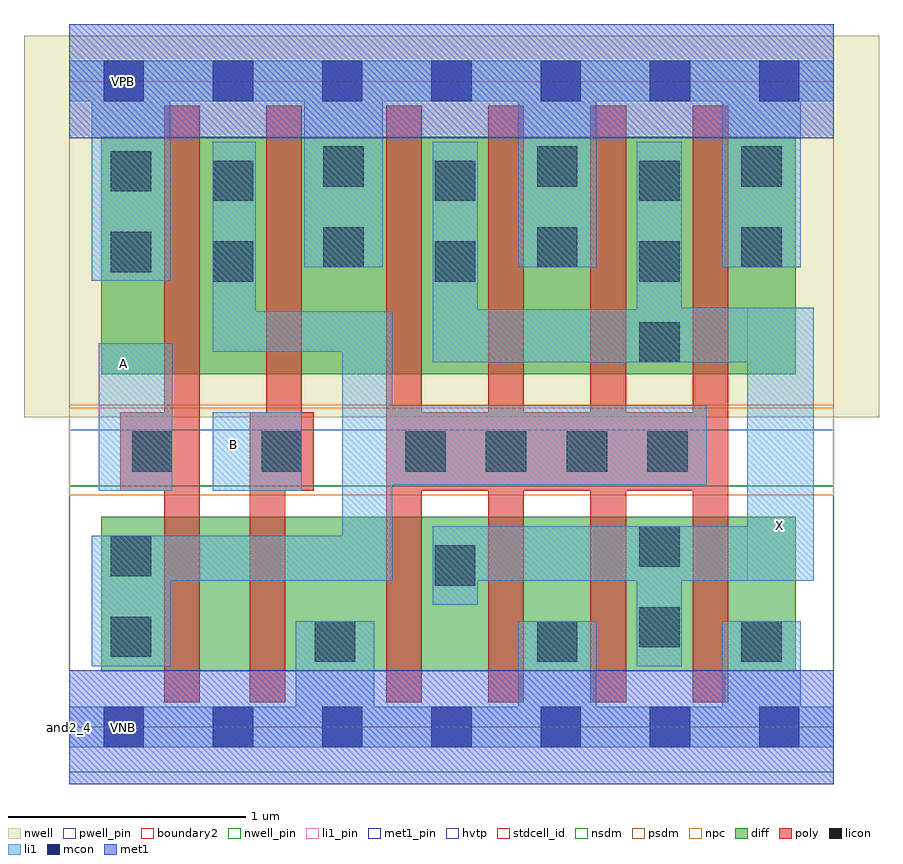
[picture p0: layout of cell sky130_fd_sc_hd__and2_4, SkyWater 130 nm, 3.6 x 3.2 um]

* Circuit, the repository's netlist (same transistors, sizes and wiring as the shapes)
* Copyright 2020 The SkyWater PDK Authors
*
* Licensed under the Apache License, Version 2.0 (the "License");
* you may not use this file except in compliance with the License.
* You may obtain a copy of the License at
*
*     https://www.apache.org/licenses/LICENSE-2.0
*
* Unless required by applicable law or agreed to in writing, software
* distributed under the License is distributed on an "AS IS" BASIS,
* WITHOUT WARRANTIES OR CONDITIONS OF ANY KIND, either express or implied.
* See the License for the specific language governing permissions and
* limitations under the License.
*
* SPDX-License-Identifier: Apache-2.0


.subckt sky130_fd_sc_hd__and2_4 A B VGND VNB VPB VPWR X
X0 a_27_47# B VPWR VPB sky130_fd_pr__pfet_01v8_hvt w=1 l=150000u
X1 VPWR A a_27_47# VPB sky130_fd_pr__pfet_01v8_hvt w=1 l=150000u
X2 a_110_47# B VGND VNB sky130_fd_pr__nfet_01v8 w=650000u l=150000u
X3 VGND a_27_47# X VNB sky130_fd_pr__nfet_01v8 w=650000u l=150000u
X4 a_27_47# A a_110_47# VNB sky130_fd_pr__nfet_01v8 w=650000u l=150000u
X5 X a_27_47# VGND VNB sky130_fd_pr__nfet_01v8 w=650000u l=150000u
X6 VPWR a_27_47# X VPB sky130_fd_pr__pfet_01v8_hvt w=1 l=150000u
X7 VPWR a_27_47# X VPB sky130_fd_pr__pfet_01v8_hvt w=1 l=150000u
X8 VGND a_27_47# X VNB sky130_fd_pr__nfet_01v8 w=650000u l=150000u
X9 X a_27_47# VPWR VPB sky130_fd_pr__pfet_01v8_hvt w=1 l=150000u
X10 X a_27_47# VGND VNB sky130_fd_pr__nfet_01v8 w=650000u l=150000u
X11 X a_27_47# VPWR VPB sky130_fd_pr__pfet_01v8_hvt w=1 l=150000u
.ends

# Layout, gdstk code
import gdstk
lib = gdstk.Library(unit=1e-6, precision=1e-09)
def R(c, l, rs):  # rectangles x0, y0, x1, y1
    for r in rs: c.add(gdstk.rectangle(r[:2], r[2:], *l))
def A(c, l, x, y, w, h, nx, ny, dx, dy):  # array of equal rectangles
    R(c, l, [(x+i*dx, y+j*dy, x+i*dx+w, y+j*dy+h) for i in range(nx) for j in range(ny)])
def P(c, l, *ps):  # polygons
    for p in ps: c.add(gdstk.Polygon(p, *l))
nwell_pin = (64, 16)
nwell = (64, 20)
diff = (65, 20)
poly = (66, 20)
licon = (66, 44)
li1_pin = (67, 16)
li1 = (67, 20)
mcon = (67, 44)
met1_pin = (68, 16)
met1 = (68, 20)
hvtp = (78, 44)
stdcell_id = (81, 4)
nsdm = (93, 44)
psdm = (94, 20)
npc = (95, 20)
pwell_pin = (122, 16)
boundary2 = (236, 0)

sky130_fd_sc_hd__and2_4 = lib.new_cell('sky130_fd_sc_hd__and2_4')
R(sky130_fd_sc_hd__and2_4, nwell_pin, [(0.145,2.635,0.315,2.805)])
R(sky130_fd_sc_hd__and2_4, nwell, [(-0.19,1.305,3.41,2.91)])
R(sky130_fd_sc_hd__and2_4, diff, [(0.135,0.235,3.06,0.885), (0.135,1.485,3.06,2.485)])
P(sky130_fd_sc_hd__and2_4, poly, [(0.4,0.105),(0.4,0.995),(0.215,0.995),(0.215,1.325),(0.4,1.325),(0.4,2.615),(0.55,2.615),(0.55,0.105)],
  [(0.76,0.105),(0.76,1.325),(0.83,1.325),(0.83,2.615),(0.98,2.615),(0.98,1.325),(1.03,1.325),(1.03,0.995),(0.91,0.995),(0.91,0.105)],
  [(1.335,0.105),(1.335,2.615),(1.485,2.615),(1.485,1.325),(1.765,1.325),(1.765,2.615),(1.915,2.615),(1.915,1.325),(2.195,1.325),(2.195,2.615),(2.345,2.615),(2.345,1.325),(2.625,1.325),(2.625,2.615),(2.775,2.615),(2.775,0.105),(2.625,0.105),(2.625,0.995),(2.345,0.995),(2.345,0.105),(2.195,0.105),(2.195,0.995),(1.915,0.995),(1.915,0.105),(1.765,0.105),(1.765,0.995),(1.485,0.995),(1.485,0.105)])
A(sky130_fd_sc_hd__and2_4, licon, 1.415, 1.075, 0.17, 0.17, 4, 1, 0.34, 0)
A(sky130_fd_sc_hd__and2_4, licon, 2.4, 1.535, 0.17, 0.17, 1, 3, 0, 0.34)
R(sky130_fd_sc_hd__and2_4, licon, [(1.035,0.275,1.205,0.445), (1.97,0.275,2.14,0.445), (2.83,0.275,3,0.445), (0.175,0.295,0.345,0.465), (2.4,0.335,2.57,0.505), (1.54,0.595,1.71,0.765), (0.175,0.635,0.345,0.805), (2.4,0.675,2.57,0.845), (0.265,1.075,0.435,1.245), (0.81,1.075,0.98,1.245), (0.605,1.875,0.775,2.045), (1.54,1.875,1.71,2.045), (0.175,1.915,0.345,2.085), (1.07,1.935,1.24,2.105), (1.97,1.935,2.14,2.105), (2.83,1.935,3,2.105), (0.605,2.215,0.775,2.385), (1.54,2.215,1.71,2.385), (0.175,2.255,0.345,2.425), (1.07,2.275,1.24,2.445), (1.97,2.275,2.14,2.445), (2.83,2.275,3,2.445)])
R(sky130_fd_sc_hd__and2_4, li1_pin, [(2.855,0.615,3.135,1.765), (0.125,0.995,0.435,1.615), (0.605,0.995,0.98,1.325)])
R(sky130_fd_sc_hd__and2_4, li1, [(0.125,0.995,0.435,1.615), (0.605,0.995,0.98,1.325)])
P(sky130_fd_sc_hd__and2_4, li1, [(0,-0.085),(0,0.085),(0.955,0.085),(0.955,0.445),(1.285,0.445),(1.285,0.085),(1.89,0.085),(1.89,0.445),(2.22,0.445),(2.22,0.085),(2.75,0.085),(2.75,0.445),(3.08,0.445),(3.08,0.085),(3.22,0.085),(3.22,-0.085)],
  [(0.095,1.88),(0.095,2.635),(0,2.635),(0,2.805),(3.22,2.805),(3.22,2.635),(3.08,2.635),(3.08,1.935),(2.75,1.935),(2.75,2.635),(2.22,2.635),(2.22,1.935),(1.89,1.935),(1.89,2.635),(1.32,2.635),(1.32,1.935),(0.99,1.935),(0.99,2.635),(0.425,2.635),(0.425,1.88)],
  [(0.095,0.255),(0.095,0.805),(1.15,0.805),(1.15,1.58),(0.605,1.58),(0.605,2.465),(0.785,2.465),(0.785,1.75),(1.36,1.75),(1.36,1.355),(2.685,1.355),(2.685,1.02),(1.36,1.02),(1.36,0.615),(0.425,0.615),(0.425,0.255)],
  [(2.39,0.255),(2.39,0.615),(1.72,0.615),(1.72,0.515),(1.53,0.515),(1.53,0.845),(2.855,0.845),(2.855,1.535),(1.53,1.535),(1.53,2.465),(1.72,2.465),(1.72,1.76),(2.39,1.76),(2.39,2.465),(2.58,2.465),(2.58,1.765),(3.135,1.765),(3.135,0.615),(2.58,0.615),(2.58,0.255)])
A(sky130_fd_sc_hd__and2_4, mcon, 0.145, -0.085, 0.17, 0.17, 7, 2, 0.46, 2.72)
R(sky130_fd_sc_hd__and2_4, met1_pin, [(0,-0.24,3.22,0.24), (0,2.48,3.22,2.96)])
R(sky130_fd_sc_hd__and2_4, met1, [(0,-0.24,3.22,0.24), (0,2.48,3.22,2.96)])
R(sky130_fd_sc_hd__and2_4, hvtp, [(0,1.25,3.22,2.72)])
R(sky130_fd_sc_hd__and2_4, stdcell_id, [(0,0,3.22,2.72)])
R(sky130_fd_sc_hd__and2_4, nsdm, [(0,-0.19,3.22,1.015)])
R(sky130_fd_sc_hd__and2_4, psdm, [(0,1.355,3.22,2.91)])
R(sky130_fd_sc_hd__and2_4, npc, [(0,0.975,3.22,1.345)])
R(sky130_fd_sc_hd__and2_4, pwell_pin, [(0.145,-0.085,0.315,0.085)])
R(sky130_fd_sc_hd__and2_4, boundary2, [(0,0,3.22,2.72)])
sky130_fd_sc_hd__and2_4.add(gdstk.Label('X', (2.99,0.85), layer=67, texttype=5))
sky130_fd_sc_hd__and2_4.add(gdstk.Label('B', (0.69,1.19), layer=67, texttype=5))
sky130_fd_sc_hd__and2_4.add(gdstk.Label('A', (0.23,1.53), layer=67, texttype=5))
sky130_fd_sc_hd__and2_4.add(gdstk.Label('VNB', (0.23,0), layer=64, texttype=59))
sky130_fd_sc_hd__and2_4.add(gdstk.Label('VPB', (0.23,2.72), layer=64, texttype=5))
sky130_fd_sc_hd__and2_4.add(gdstk.Label('VGND', (0.23,0), layer=68, texttype=5))
sky130_fd_sc_hd__and2_4.add(gdstk.Label('VPWR', (0.23,2.72), layer=68, texttype=5))
sky130_fd_sc_hd__and2_4.add(gdstk.Label('and2_4', (0,0), layer=83, texttype=44))

lib.write_gds('sky130_fd_sc_hd__and2_4.gds')
